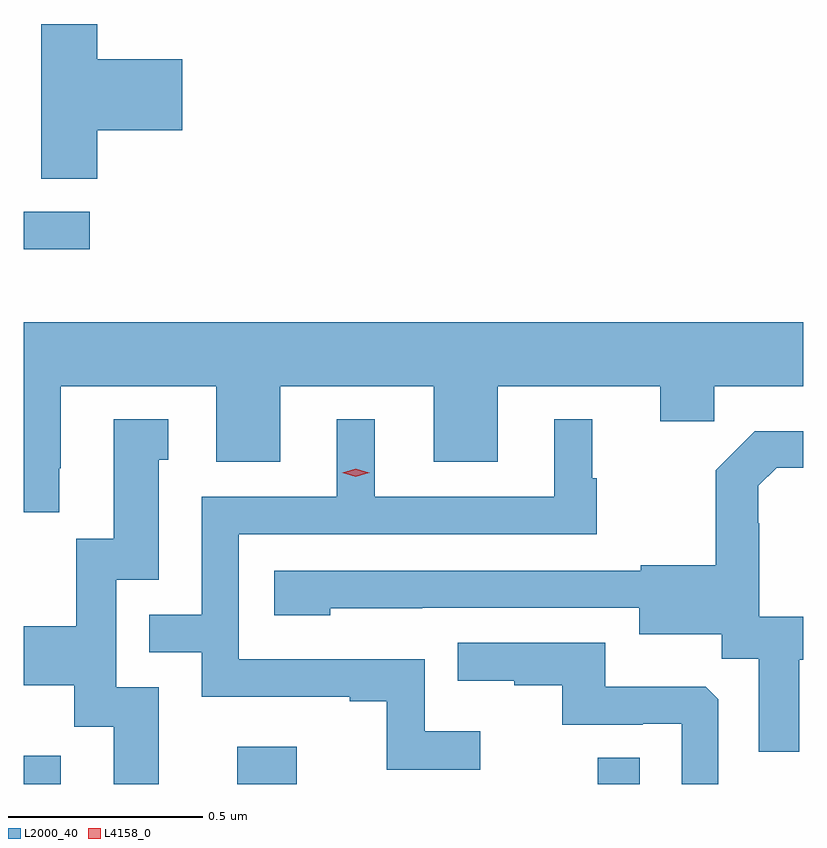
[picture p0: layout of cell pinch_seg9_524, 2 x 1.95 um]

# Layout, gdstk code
import gdstk
lib = gdstk.Library(unit=1e-6, precision=1e-09)
def R(c, l, rs):  # rectangles x0, y0, x1, y1
    for r in rs: c.add(gdstk.rectangle(r[:2], r[2:], *l))
def P(c, l, *ps):  # polygons
    for p in ps: c.add(gdstk.Polygon(p, *l))
L2000_40 = (2000, 40)
L4158_0 = (4158, 0)

pinch_seg9_524 = lib.new_cell('pinch_seg9_524')
R(pinch_seg9_524, L2000_40, [(313.383,1174.087,313.477,1174.159), (313.931,1174.087,314.083,1174.183), (314.856,1174.087,314.964,1174.154), (313.383,1175.46,313.552,1175.556)])
P(pinch_seg9_524, L2000_40, [(313.571,1175.765),(313.789,1175.765),(313.789,1175.948),(313.571,1175.948),(313.571,1176.038),(313.427,1176.038),(313.427,1175.641),(313.571,1175.641)],
  [(313.474,1174.897),(313.477,1174.897),(313.477,1175.108),(313.877,1175.108),(313.877,1174.914),(314.041,1174.914),(314.041,1175.108),(314.435,1175.108),(314.435,1174.914),(314.599,1174.914),(314.599,1175.108),(315.017,1175.108),(315.017,1175.018),(315.155,1175.018),(315.155,1175.108),(315.383,1175.108),(315.383,1175.272),(313.383,1175.272),(313.383,1174.785),(313.474,1174.785)],
  [(313.729,1174.335),(313.62,1174.335),(313.62,1174.611),(313.729,1174.611),(313.729,1174.92),(313.753,1174.92),(313.753,1175.023),(313.613,1175.023),(313.613,1174.716),(313.517,1174.716),(313.517,1174.492),(313.383,1174.492),(313.383,1174.34),(313.512,1174.34),(313.512,1174.234),(313.613,1174.234),(313.613,1174.087),(313.729,1174.087)],
  [(314.554,1174.222),(314.412,1174.222),(314.412,1174.407),(313.935,1174.407),(313.935,1174.728),(314.854,1174.728),(314.854,1174.872),(314.842,1174.872),(314.842,1175.023),(314.744,1175.023),(314.744,1174.824),(314.284,1174.824),(314.284,1175.023),(314.186,1175.023),(314.186,1174.824),(313.839,1174.824),(313.839,1174.521),(313.705,1174.521),(313.705,1174.425),(313.839,1174.425),(313.839,1174.311),(314.219,1174.311),(314.219,1174.299),(314.314,1174.299),(314.314,1174.124),(314.554,1174.124)],
  [(315.373,1174.406),(315.383,1174.406),(315.383,1174.516),(315.27,1174.516),(315.27,1174.757),(315.268,1174.757),(315.268,1174.852),(315.315,1174.899),(315.383,1174.899),(315.383,1174.993),(315.259,1174.993),(315.159,1174.893),(315.159,1174.648),(314.967,1174.648),(314.967,1174.635),(314.025,1174.635),(314.025,1174.52),(314.169,1174.52),(314.169,1174.538),(314.405,1174.538),(314.405,1174.539),(314.963,1174.539),(314.963,1174.472),(315.174,1174.472),(315.174,1174.408),(315.269,1174.408),(315.269,1174.17),(315.373,1174.17)],
  [(315.165,1174.305),(315.133,1174.337),(314.875,1174.337),(314.875,1174.449),(314.497,1174.449),(314.497,1174.352),(314.641,1174.352),(314.641,1174.341),(314.765,1174.341),(314.765,1174.239),(314.972,1174.239),(314.972,1174.242),(315.072,1174.242),(315.072,1174.087),(315.165,1174.087)])
P(pinch_seg9_524, L4158_0, [(314.235,1174.876),(314.2,1174.886),(314.199,1174.886),(314.2,1174.886),(314.235,1174.896),(314.27,1174.886),(314.271,1174.886),(314.27,1174.886)])

lib.write_gds('pinch_seg9_524.gds')
